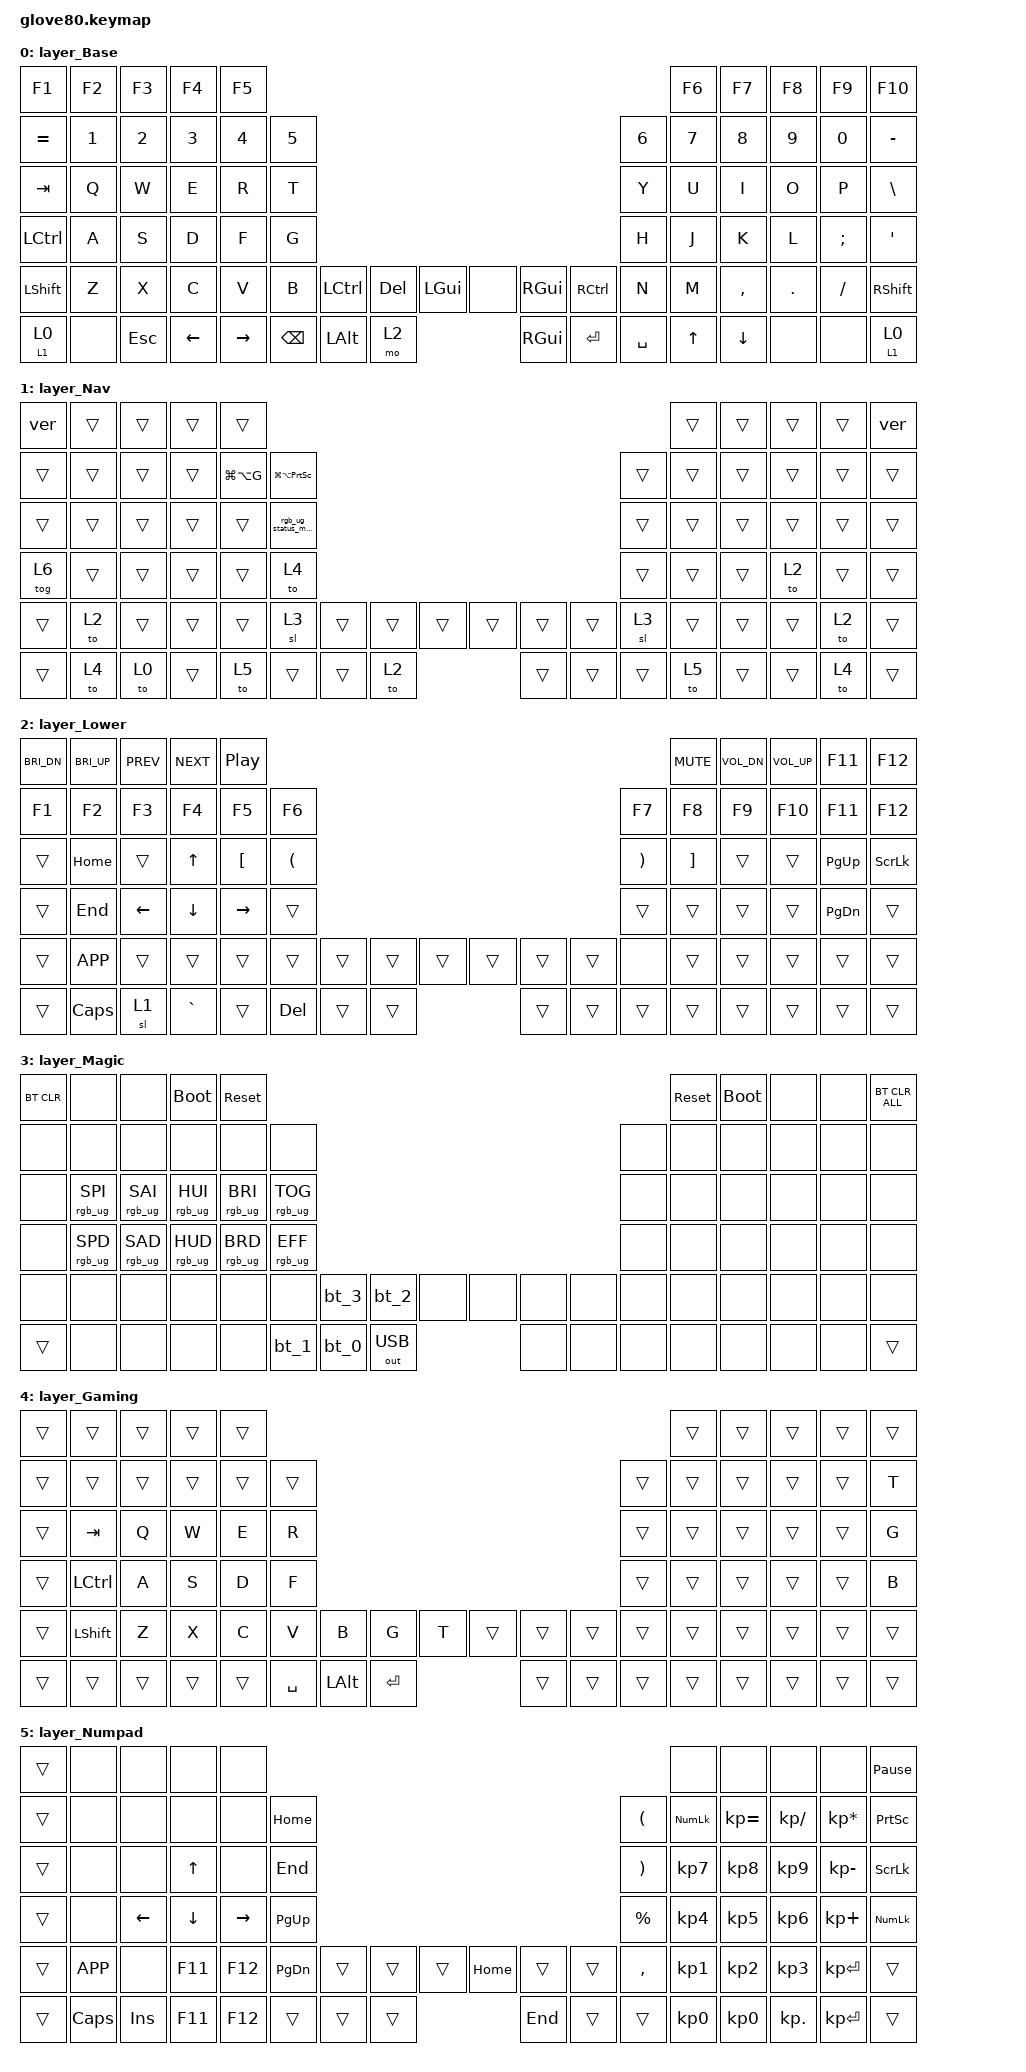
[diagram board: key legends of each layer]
#pragma once
/*
 * Copyright (c) 2020 The ZMK Contributors
 * Copyright (c) 2023 Innaworks Development Limited, trading as MoErgo
 *
 * SPDX-License-Identifier: MIT
 */


/* THIS FILE WAS GENERATED BY GLOVE80 LAYOUT EDITOR
 *
 * This file was generated automatically. You may or may not want to
 * edit it directly.
 */

#include <behaviors.dtsi>
/* Include all behavior includes needed */
#include <dt-bindings/zmk/outputs.h>
#include <dt-bindings/zmk/keys.h>
#include <dt-bindings/zmk/bt.h>
#include <dt-bindings/zmk/rgb.h>

#define YEAR_KEYS(y1, y2) &kp N2 &kp N0 &kp N##y1 &kp N##y2
#define MON_KEYS(m1, m2, m3) &kp m1 &kp m2 &kp m3
#define VER_KEYS(n1, n2) &kp N##n1 &kp N##n2

#define MYEAR YEAR_KEYS(2,6)
#define MMON MON_KEYS(F,E,B)
#define MVER VER_KEYS(0,5)

/* Automatically generated layer name #define */
#define LAYER_Base 0
#define LAYER_Nav 1
#define LAYER_Lower 2
#define LAYER_Magic 3
#define LAYER_Gaming 4
#define LAYER_Numpad 5
#define LAYER_Dual 6

/* To deal with the situation where there is no Lower layer, to keep &lower happy */
#ifndef LAYER_Lower
#define LAYER_Lower 0
#endif

/* Custom Device-tree */



/* Glove80 system behavior & macros */
/ {
    behaviors {
        // For the "layer" key, it'd nice to be able to use it as either a shift or a toggle.
        // Configure it as a tap dance, so the first tap (or hold) is a &mo and the second tap is a &to
        lower: lower {
            compatible = "zmk,behavior-tap-dance";
            label = "LAYER_TAP_DANCE";
            #binding-cells = <0>;
            tapping-term-ms = <200>;
            bindings = <&mo LAYER_Lower>, <&to LAYER_Lower>;
        };
    };
};

/ {
    macros {
        rgb_ug_status_macro: rgb_ug_status_macro {
            label = "RGB_UG_STATUS";
            compatible = "zmk,behavior-macro";
            #binding-cells = <0>;
            bindings
                = <&rgb_ug RGB_STATUS>;
        };
        gb_screenshot_macro: gb_screenshot_macro {
            label = "GAMEBAR_SCREENSHOT";
            compatible = "zmk,behavior-macro";
            #binding-cells = <0>;
            bindings
                = <&macro_press &kp LGUI &kp LALT>
                , <&macro_tap &kp PRINTSCREEN>
                , <&macro_release &kp LGUI &kp LALT>
                ;
        };
        gb_clipm_macro: gb_clip_macro {
            label = "GAMEBAR_SCREENSHOT";
            compatible = "zmk,behavior-macro";
            #binding-cells = <0>;
            bindings
                = <&macro_press &kp LGUI &kp LALT>
                , <&macro_tap &kp G>
                , <&macro_release &kp LGUI &kp LALT>
                ;
        };
    };
};

#define rgbstat &rgb_ug_status_macro
#define gb_clip &kp LG(LA(G))
#define gb_screenshot &kp LG(LA(PRINTSCREEN))


/ {
#ifdef BT_DISC_CMD
    behaviors {
        bt_0: bt_0 {
            compatible = "zmk,behavior-tap-dance";
            label = "BT_0";
            #binding-cells = <0>;
            tapping-term-ms = <200>;
            bindings = <&bt_select_0>, <&bt BT_DISC 0>;
        };
        bt_1: bt_1 {
            compatible = "zmk,behavior-tap-dance";
            label = "BT_1";
            #binding-cells = <0>;
            tapping-term-ms = <200>;
            bindings = <&bt_select_1>, <&bt BT_DISC 1>;
        };
        bt_2: bt_2 {
            compatible = "zmk,behavior-tap-dance";
            label = "BT_2";
            #binding-cells = <0>;
            tapping-term-ms = <200>;
            bindings = <&bt_select_2>, <&bt BT_DISC 2>;
        };
        bt_3: bt_3 {
            compatible = "zmk,behavior-tap-dance";
            label = "BT_3";
            #binding-cells = <0>;
            tapping-term-ms = <200>;
            bindings = <&bt_select_3>, <&bt BT_DISC 3>;
        };
    };
    macros {
        bt_select_0: bt_select_0 {
            label = "BT_SELECT_0";
            compatible = "zmk,behavior-macro";
            #binding-cells = <0>;
            bindings
                = <&out OUT_BLE>,
                  <&bt BT_SEL 0>;
        };
        bt_select_1: bt_select_1 {
            label = "BT_SELECT_1";
            compatible = "zmk,behavior-macro";
            #binding-cells = <0>;
            bindings
                = <&out OUT_BLE>,
                  <&bt BT_SEL 1>;
        };
        bt_select_2: bt_select_2 {
            label = "BT_SELECT_2";
            compatible = "zmk,behavior-macro";
            #binding-cells = <0>;
            bindings
                = <&out OUT_BLE>,
                  <&bt BT_SEL 2>;
        };
        bt_select_3: bt_select_3 {
            label = "BT_SELECT_3";
            compatible = "zmk,behavior-macro";
            #binding-cells = <0>;
            bindings
                = <&out OUT_BLE>,
                  <&bt BT_SEL 3>;
        };
    };
#else
    macros {
        bt_0: bt_0 {
            label = "BT_0";
            compatible = "zmk,behavior-macro";
            #binding-cells = <0>;
            bindings
                = <&out OUT_BLE>,
                  <&bt BT_SEL 0>;
        };
        bt_1: bt_1 {
            label = "BT_1";
            compatible = "zmk,behavior-macro";
            #binding-cells = <0>;
            bindings
                = <&out OUT_BLE>,
                  <&bt BT_SEL 1>;
        };
        bt_2: bt_2 {
            label = "BT_2";
            compatible = "zmk,behavior-macro";
            #binding-cells = <0>;
            bindings
                = <&out OUT_BLE>,
                  <&bt BT_SEL 2>;
        };
        bt_3: bt_3 {
            label = "BT_3";
            compatible = "zmk,behavior-macro";
            #binding-cells = <0>;
            bindings
                = <&out OUT_BLE>,
                  <&bt BT_SEL 3>;
        };
    };
#endif
};

/ {
    behaviors {
        magic: magic {
            compatible = "zmk,behavior-hold-tap";
            label = "MAGIC_HOLD_TAP";
            #binding-cells = <2>;
            flavor = "tap-preferred";
            tapping-term-ms = <200>;
            bindings = <&mo>, <&rgb_ug_status_macro>;
        };
    };
};

/* #define for key positions */
#define POS_LH_T1 52
#define POS_LH_T2 53
#define POS_LH_T3 54
#define POS_LH_T4 69
#define POS_LH_T5 70
#define POS_LH_T6 71
#define POS_LH_C1R2 15
#define POS_LH_C1R3 27
#define POS_LH_C1R4 39
#define POS_LH_C1R5 51
#define POS_LH_C2R1 4
#define POS_LH_C2R2 14
#define POS_LH_C2R3 26
#define POS_LH_C2R4 38
#define POS_LH_C2R5 50
#define POS_LH_C2R6 68
#define POS_LH_C3R1 3
#define POS_LH_C3R2 13
#define POS_LH_C3R3 25
#define POS_LH_C3R4 37
#define POS_LH_C3R5 49
#define POS_LH_C3R6 67
#define POS_LH_C4R1 2
#define POS_LH_C4R2 12
#define POS_LH_C4R3 24
#define POS_LH_C4R4 36
#define POS_LH_C4R5 48
#define POS_LH_C4R6 66
#define POS_LH_C5R1 1
#define POS_LH_C5R2 11
#define POS_LH_C5R3 23
#define POS_LH_C5R4 35
#define POS_LH_C5R5 47
#define POS_LH_C5R6 65
#define POS_LH_C6R1 0
#define POS_LH_C6R2 10
#define POS_LH_C6R3 22
#define POS_LH_C6R4 34
#define POS_LH_C6R5 46
#define POS_LH_C6R6 64
#define POS_RH_T1 57
#define POS_RH_T2 56
#define POS_RH_T3 55
#define POS_RH_T4 74
#define POS_RH_T5 73
#define POS_RH_T6 72
#define POS_RH_C1R2 16
#define POS_RH_C1R3 28
#define POS_RH_C1R4 40
#define POS_RH_C1R5 58
#define POS_RH_C2R1 5
#define POS_RH_C2R2 17
#define POS_RH_C2R3 29
#define POS_RH_C2R4 41
#define POS_RH_C2R5 59
#define POS_RH_C2R6 75
#define POS_RH_C3R1 6
#define POS_RH_C3R2 18
#define POS_RH_C3R3 30
#define POS_RH_C3R4 42
#define POS_RH_C3R5 60
#define POS_RH_C3R6 76
#define POS_RH_C4R1 7
#define POS_RH_C4R2 19
#define POS_RH_C4R3 31
#define POS_RH_C4R4 43
#define POS_RH_C4R5 61
#define POS_RH_C4R6 77
#define POS_RH_C5R1 8
#define POS_RH_C5R2 20
#define POS_RH_C5R3 32
#define POS_RH_C5R4 44
#define POS_RH_C5R5 62
#define POS_RH_C5R6 78
#define POS_RH_C6R1 9
#define POS_RH_C6R2 21
#define POS_RH_C6R3 33
#define POS_RH_C6R4 45
#define POS_RH_C6R5 63
#define POS_RH_C6R6 79

/* Custom Defined Behaviors */
/ {
    behaviors {
      nav: behavior_nav {
            compatible = "zmk,behavior-hold-tap";
            label = "NAV_HOLD_TAP";
            #binding-cells = <2>;
            flavor = "tap-preferred";
            tapping-term-ms = <200>;
            bindings = <&mo>, <&to>;
        };
      ver: behavior_version {
            compatible = "zmk,behavior-macro";
            #binding-cells = <0>;
            bindings = <&kp N &kp D &kp MINUS MYEAR &kp MINUS MMON &kp MINUS MVER>;
        };
    };
};

/* Automatically generated macro definitions */
/ {
    macros {

    };
};

/* Automatically generated combos definitions */
/ {
    combos {
            compatible = "zmk,combos";
    };
};

/* Automatically generated keymap */
/ {
    keymap {
        compatible = "zmk,keymap";


        layer_Base {
            bindings = <
            &kp F1       &kp F2  &kp F3    &kp F4     &kp F5                                                                                 &kp F6     &kp F7    &kp F8    &kp F9    &kp F10
            &kp EQUAL    &kp N1  &kp N2    &kp N3     &kp N4  &kp N5                                                                 &kp N6  &kp N7     &kp N8    &kp N9    &kp N0  &kp MINUS
            &kp TAB      &kp Q   &kp W     &kp E      &kp R   &kp T                                                                  &kp Y   &kp U      &kp I     &kp O     &kp P   &kp BSLH
            &kp LCTRL    &kp A   &kp S     &kp D      &kp F   &kp G                                                                  &kp H   &kp J      &kp K     &kp L     &kp SEMI    &kp SQT
            &kp LSHFT    &kp Z   &kp X     &kp C      &kp V   &kp B  &kp LCTRL  &kp DEL   &kp LGUI    &none    &kp RGUI  &kp RCTRL   &kp N   &kp M    &kp COMMA   &kp DOT     &kp FSLH  &kp RSHFT
            &nav 1 0    &none    &kp ESC  &kp LEFT    &kp RIGHT      &kp BSPC   &kp LALT &mo 2       &kp RGUI &kp RET   &kp SPACE            &kp UP   &kp DOWN    &none     &none   &nav 1 0
            >;
        };

        layer_Nav {
            bindings = <
 &ver    &trans  &trans  &trans  &trans                                                                   &trans  &trans  &trans  &trans  &ver
 &trans  &trans  &trans  &trans  gb_clip gb_screenshot                                            &trans  &trans  &trans  &trans  &trans  &trans
 &trans  &trans  &trans  &trans  &trans  rgbstat                                                  &trans  &trans  &trans  &trans  &trans  &trans
 &tog 6  &trans  &trans  &trans  &trans  &to 4                                                    &trans  &trans  &trans   &to 2  &trans  &trans
 &trans  &to 2   &trans  &trans  &trans  &sl 3   &trans  &trans  &trans  &trans   &trans  &trans  &sl 3   &trans  &trans  &trans   &to 2  &trans
 &trans  &to 4   &to 0   &trans  &to 5           &trans  &trans  &to 2   &trans   &trans  &trans          &to 5   &trans  &trans   &to 4  &trans
            >;
        };

        layer_Lower {
            bindings = <
 &kp C_BRI_DN  &kp C_BRI_UP   &kp C_PREV  &kp C_NEXT  &kp C_PP                                                                            &kp C_MUTE  &kp C_VOL_DN  &kp C_VOL_UP  &kp F11       &kp F12
 &kp F1        &kp F2         &kp F3      &kp F4      &kp F5     &kp F6                                                       &kp F7      &kp F8      &kp F9        &kp F10       &kp F11       &kp F12
 &trans        &kp HOME       &trans      &kp UP      &kp LBKT   &kp LPAR                                                     &kp RPAR    &kp RBKT    &trans        &trans        &kp PG_UP     &kp SCROLLLOCK
 &trans        &kp END        &kp LEFT    &kp DOWN    &kp RIGHT  &trans                                                       &trans      &trans      &trans        &trans        &kp PG_DN     &trans
 &trans        &kp K_APP      &trans      &trans      &trans     &trans     &trans   &trans  &trans  &trans   &trans  &trans  &none       &trans      &trans        &trans        &trans        &trans
 &trans        &kp CAPS       &sl 1       &kp GRAVE   &trans                &kp DEL  &trans  &trans  &trans   &trans  &trans              &trans      &trans        &trans        &trans        &trans
            >;
        };

        layer_Magic {
            bindings = <
 &bt BT_CLR            &none            &none      &bootloader       &sys_reset                                                                                 &sys_reset  &bootloader   &none   &none  &bt BT_CLR_ALL
      &none            &none            &none            &none            &none            &none                                                         &none       &none        &none   &none   &none           &none
      &none  &rgb_ug RGB_SPI  &rgb_ug RGB_SAI  &rgb_ug RGB_HUI  &rgb_ug RGB_BRI  &rgb_ug RGB_TOG                                                         &none       &none        &none   &none   &none           &none
      &none  &rgb_ug RGB_SPD  &rgb_ug RGB_SAD  &rgb_ug RGB_HUD  &rgb_ug RGB_BRD  &rgb_ug RGB_EFF                                                         &none       &none        &none   &none   &none           &none
      &none            &none            &none            &none            &none            &none   &bt_3   &bt_2         &none   &none   &none   &none   &none       &none        &none   &none   &none           &none
      &trans           &none            &none            &none            &none                    &bt_1   &bt_0  &out OUT_USB   &none   &none   &none               &none        &none   &none   &none           &trans
            >;
        };

        layer_Gaming {
            bindings = <
 &trans     &trans  &trans  &trans  &trans                                                                      &trans  &trans  &trans  &trans  &trans
 &trans     &trans  &trans  &trans  &trans  &trans                                                      &trans  &trans  &trans  &trans  &trans  &kp T
 &trans    &kp TAB   &kp Q   &kp W   &kp E   &kp R                                                      &trans  &trans  &trans  &trans  &trans  &kp G
 &trans  &kp LCTRL   &kp A   &kp S   &kp D   &kp F                                                      &trans  &trans  &trans  &trans  &trans  &kp B
 &trans  &kp LSHFT   &kp Z   &kp X   &kp C   &kp V  &kp B      &kp G    &kp T   &trans  &trans  &trans  &trans  &trans  &trans  &trans  &trans  &trans
 &trans     &trans  &trans  &trans  &trans          &kp SPACE  &kp LALT &kp RET &trans  &trans  &trans          &trans  &trans  &trans  &trans  &trans
            >;
        };

        layer_Numpad {
            bindings = <
               &trans         &none           &none           &none            &none                                                                                     &none       &none         &none            &none  &kp PAUSE_BREAK
               &trans         &none           &none           &none            &none   &kp HOME                                                    &kp LEFT_PARENTHESIS  &kp KP_NUM  &kp KP_EQUAL  &kp KP_SLASH  &kp KP_MULTIPLY  &kp PRINTSCREEN
               &trans         &none           &none    &kp UP_ARROW            &none    &kp END                                                   &kp RIGHT_PARENTHESIS   &kp KP_N7     &kp KP_N8     &kp KP_N9     &kp KP_MINUS   &kp SCROLLLOCK
               &trans         &none  &kp LEFT_ARROW  &kp DOWN_ARROW  &kp RIGHT_ARROW  &kp PG_UP                                                             &kp PERCENT   &kp KP_N4     &kp KP_N5     &kp KP_N6      &kp KP_PLUS   &kp KP_NUMLOCK
               &trans     &kp K_APP           &none         &kp F11          &kp F12  &kp PG_DN  &trans  &trans  &trans  &kp HOME &trans  &trans              &kp COMMA   &kp KP_N1     &kp KP_N2     &kp KP_N3     &kp KP_ENTER           &trans
               &trans      &kp CAPS         &kp INS         &kp F11          &kp F12             &trans  &trans  &trans  &kp END  &trans  &trans                          &kp KP_N0     &kp KP_N0    &kp KP_DOT     &kp KP_ENTER           &trans
            >;
        };

        /* This layer is to emulate what I have on some other keyboards where keys have dual purpose
        layer_Dual {
            bindings = <
 &trans  &trans  &trans  &trans  &trans                                                                                       &trans  &trans  &trans  &trans  &trans
 &trans  &trans  &trans  &trans  &trans  &trans                                                                       &trans  &trans  &trans  &trans  &trans  &trans
 &trans  &trans  &trans  &trans  &trans  &trans                                                                       &trans  &trans  &trans  &trans  &trans  &trans
 &trans  &trans  &trans  &trans  &trans  &trans                                                                       &trans  &trans  &trans  &trans  &trans  &trans
 &trans  &trans  &trans  &trans  &trans  &trans  &trans         &trans     &trans  &trans  &trans     &trans          &trans  &trans  &trans  &trans  &trans  &trans
 &trans  &trans  &trans  &trans  &trans          &mt LALT BSPC  &lt 1 DEL  &trans  &trans  &lt 2 RET  &mt RGUI SPACE          &trans  &trans  &trans  &trans  &trans
            >;
        };

/*
        layer_Blank {
            bindings = <
 &trans  &trans  &trans  &trans  &trans                                                                  &trans  &trans  &trans  &trans  &trans
 &trans  &trans  &trans  &trans  &trans  &trans                                                  &trans  &trans  &trans  &trans  &trans  &trans
 &trans  &trans  &trans  &trans  &trans  &trans                                                  &trans  &trans  &trans  &trans  &trans  &trans
 &trans  &trans  &trans  &trans  &trans  &trans                                                  &trans  &trans  &trans  &trans  &trans  &trans
 &trans  &trans  &trans  &trans  &trans  &trans  &trans  &trans  &trans  &trans  &trans  &trans  &trans  &trans  &trans  &trans  &trans  &trans
 &trans  &trans  &trans  &trans  &trans          &trans  &trans  &trans  &trans  &trans  &trans          &trans  &trans  &trans  &trans  &trans
            >;
        };
*/

    };
};
